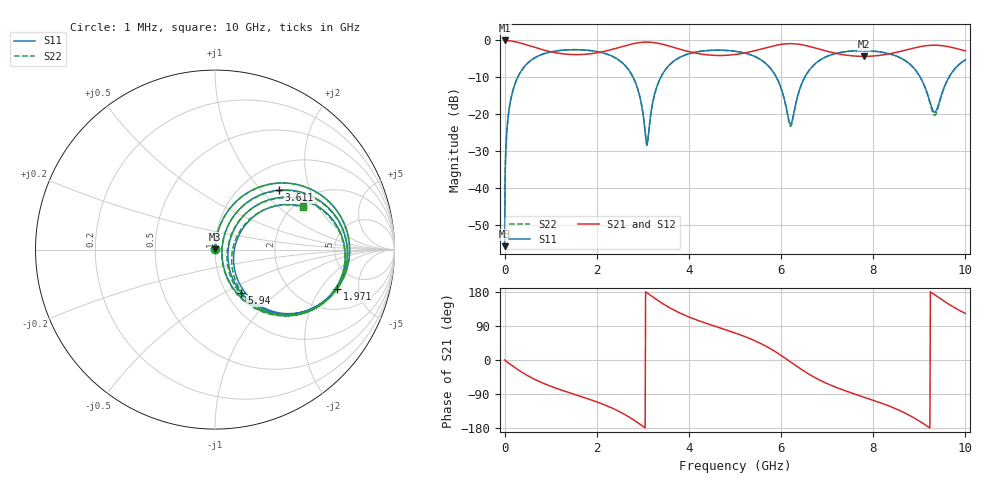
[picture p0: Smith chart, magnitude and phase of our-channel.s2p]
! Created with skrf 2.0.1 (http://scikit-rf.org).
# Hz S RI R 50.0
!freq ReS11 ImS11 ReS21 ImS21 ReS12 ImS12 ReS22 ImS22
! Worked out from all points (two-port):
!   1001 points, 1 MHz to 10 GHz, reference 50 ohm
!   highest |S21| = -0.01 dB at 1 MHz (marker M1); lowest = -4.3 dB at 7.79 GHz (marker M2)
!   |S21| within 3 dB of the highest: 2.142 GHz to 3.994 GHz (1.852 GHz wide, 60.4 % of centre); 5.353 GHz to 7.024 GHz (1.671 GHz wide, 27 % of centre)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
!   lowest |S11| = -55.6 dB at 1 MHz (marker M3), VSWR 1.00, Z = 50.1 + j0.126 ohm
!   |S11| at or under -10 dB: 2.791 GHz to 3.389 GHz (598.1 MHz wide, 19.4 % of centre); 5.901 GHz to 6.512 GHz (611.3 MHz wide, 9.85 % of centre); 9.025 GHz to 9.64 GHz (614.7 MHz wide, 6.59 % of centre)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
!   |S22| runs from -55.6 to -2.5 dB; largest |S21 - S12| = 0
!   S11 on the Smith chart (normalised r, x): 1 MHz: 1.00, +0.00; 1.971 GHz: 3.24, -2.90; 3.611 GHz: 1.46, +1.27; 5.94 GHz: 1.17, -0.61; 10 GHz: 2.21, +1.52
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1000000  0.00108 0.00126  0.9989 -0.00168  0.9989 -0.00168  0.00108 0.00126
6.0994e7  0.00954 0.073  0.9897 -0.0978  0.9897 -0.0978  0.00955 0.073
9.0991e7  0.0185 0.1072  0.9802 -0.144  0.9802 -0.144  0.0185 0.1072
3.0097e8  0.151 0.2959  0.8395 -0.4164  0.8395 -0.4164  0.1512 0.2957
9.70903e8  0.6413 0.2612  0.2677 -0.6575  0.2677 -0.6575  0.6419 0.2596
1.670833e9  0.7419 -0.0788  -0.0766 -0.6409  -0.0766 -0.6409  0.7415 -0.082
1.970803e9  0.6787 -0.2199  -0.2221 -0.6372  -0.2221 -0.6372  0.6775 -0.2235
2.740726e9  0.1918 -0.3052  -0.7946 -0.3963  -0.7946 -0.3963  0.1889 -0.3069
2.920708e9  0.0762 -0.1732  -0.9129 -0.194  -0.9129 -0.194  0.0739 -0.174
3.090691e9  0.0394 -0.000134  -0.9474 0.0445  -0.9474 0.0445  0.0381 -0.000359
3.340666e9  0.142 0.2312  -0.8331 0.3707  -0.8331 0.3707  0.1427 0.2306
3.610639e9  0.3582 0.3312  -0.5932 0.5732  -0.5932 0.5732  0.3602 0.3288
4.260574e9  0.7 0.1404  -0.1318 0.6416  -0.1318 0.6416  0.7012 0.1336
5.0005e9  0.6844 -0.2031  0.2059 0.611  0.2059 0.611  0.6814 -0.2121
5.940406e9  0.1465 -0.2405  0.8343 0.2539  0.8343 0.2539  0.1392 -0.2436
6.210379e9  0.0737 -0.0021  0.9004 -0.087  0.9004 -0.087  0.069 -0.00264
6.670333e9  0.3326 0.2859  0.6032 -0.5438  0.6032 -0.5438  0.3338 0.2834
7.790221e9  0.7225 -0.0821  -0.0814 -0.6032  -0.0814 -0.6032  0.7203 -0.095
8.340166e9  0.5912 -0.2988  -0.3417 -0.5611  -0.3417 -0.5611  0.5832 -0.3123
8.930107e9  0.2406 -0.3061  -0.7319 -0.3272  -0.7319 -0.3272  0.2274 -0.3134
9.330067e9  0.1057 -0.0155  -0.8552 0.1142  -0.8552 0.1142  0.0958 -0.0161
1e10  0.4908 0.2405  -0.3916 0.607  -0.3916 0.607  0.4915 0.2356
